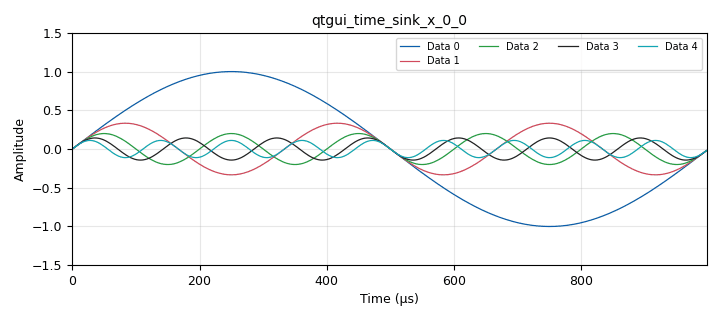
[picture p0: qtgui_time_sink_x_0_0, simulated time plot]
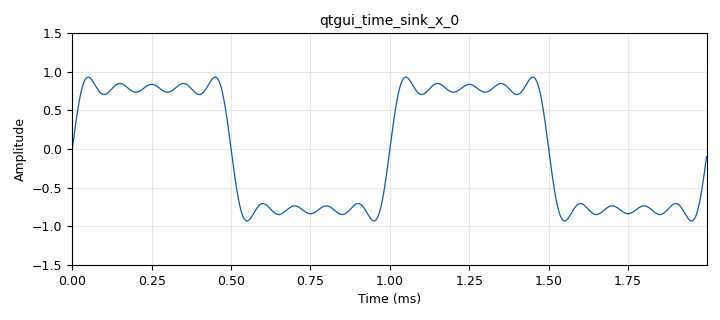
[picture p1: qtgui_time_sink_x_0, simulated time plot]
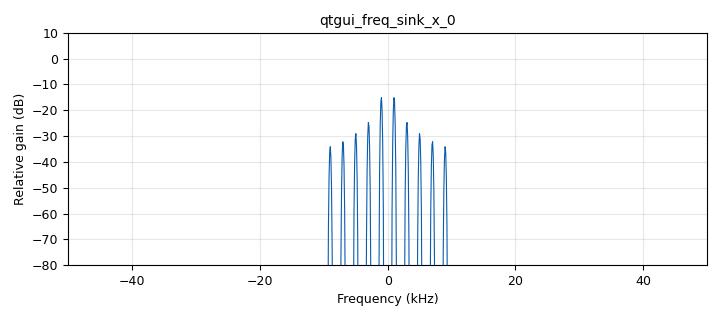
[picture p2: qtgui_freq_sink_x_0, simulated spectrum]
<?xml version='1.0' encoding='utf-8'?>
<flow_graph>
<block>
<key>options</key>
<param><key>id</key><value>top_block</value></param>
<param><key>generate_options</key><value>qt_gui</value></param>
<param><key>category</key><value>Custom</value></param>
</block>
<block>
<key>variable</key>
<param><key>id</key><value>samp_rate</value></param>
<param><key>value</key><value>315e3</value></param>
</block>
<block>
<key>variable_qtgui_range</key>
<param><key>id</key><value>third_harm</value></param>
<param><key>label</key><value>7 kHz</value></param>
<param><key>value</key><value>1.0/7</value></param>
<param><key>start</key><value>0</value></param>
<param><key>stop</key><value>1.0/7</value></param>
<param><key>step</key><value>0.01</value></param>
<param><key>orient</key><value>Qt.Horizontal</value></param>
<param><key>gui_hint</key><value>0,3,1,1</value></param>
</block>
<block>
<key>variable_qtgui_range</key>
<param><key>id</key><value>sec_harm</value></param>
<param><key>label</key><value>5 kHz</value></param>
<param><key>value</key><value>1.0/5</value></param>
<param><key>start</key><value>0</value></param>
<param><key>stop</key><value>1.0/5</value></param>
<param><key>step</key><value>0.01</value></param>
<param><key>orient</key><value>Qt.Horizontal</value></param>
<param><key>gui_hint</key><value>0,2,1,1</value></param>
</block>
<block>
<key>variable_qtgui_range</key>
<param><key>id</key><value>first_harm</value></param>
<param><key>label</key><value>3 kHz</value></param>
<param><key>value</key><value>1.0/3</value></param>
<param><key>start</key><value>0</value></param>
<param><key>stop</key><value>1.0/3</value></param>
<param><key>step</key><value>0.01</value></param>
<param><key>orient</key><value>Qt.Horizontal</value></param>
<param><key>gui_hint</key><value>0,1,1,1</value></param>
</block>
<block>
<key>variable_qtgui_range</key>
<param><key>id</key><value>fundamental</value></param>
<param><key>label</key><value>1 kHz</value></param>
<param><key>value</key><value>1</value></param>
<param><key>start</key><value>0</value></param>
<param><key>stop</key><value>1</value></param>
<param><key>step</key><value>0.01</value></param>
<param><key>orient</key><value>Qt.Horizontal</value></param>
<param><key>gui_hint</key><value>0,0,1,1</value></param>
</block>
<block>
<key>variable_qtgui_range</key>
<param><key>id</key><value>fourth_harm</value></param>
<param><key>label</key><value>9 kHz</value></param>
<param><key>value</key><value>1.0/9</value></param>
<param><key>start</key><value>0</value></param>
<param><key>stop</key><value>1.0/9</value></param>
<param><key>step</key><value>0.01</value></param>
<param><key>orient</key><value>Qt.Horizontal</value></param>
<param><key>gui_hint</key><value>0,4,1,1</value></param>
</block>
<block>
<key>analog_sig_source_x</key>
<param><key>id</key><value>analog_sig_source_x_0_0</value></param>
<param><key>type</key><value>float</value></param>
<param><key>samp_rate</key><value>samp_rate</value></param>
<param><key>waveform</key><value>analog.GR_SIN_WAVE</value></param>
<param><key>freq</key><value>3000</value></param>
<param><key>amp</key><value>first_harm</value></param>
<param><key>offset</key><value>0</value></param>
</block>
<block>
<key>analog_sig_source_x</key>
<param><key>id</key><value>analog_sig_source_x_0_0_0</value></param>
<param><key>type</key><value>float</value></param>
<param><key>samp_rate</key><value>samp_rate</value></param>
<param><key>waveform</key><value>analog.GR_SIN_WAVE</value></param>
<param><key>freq</key><value>5000</value></param>
<param><key>amp</key><value>sec_harm</value></param>
<param><key>offset</key><value>0</value></param>
</block>
<block>
<key>analog_sig_source_x</key>
<param><key>id</key><value>analog_sig_source_x_0_0_0_0</value></param>
<param><key>type</key><value>float</value></param>
<param><key>samp_rate</key><value>samp_rate</value></param>
<param><key>waveform</key><value>analog.GR_SIN_WAVE</value></param>
<param><key>freq</key><value>7000</value></param>
<param><key>amp</key><value>third_harm</value></param>
<param><key>offset</key><value>0</value></param>
</block>
<block>
<key>analog_sig_source_x</key>
<param><key>id</key><value>analog_sig_source_x_0_0_0_0_0</value></param>
<param><key>type</key><value>float</value></param>
<param><key>samp_rate</key><value>samp_rate</value></param>
<param><key>waveform</key><value>analog.GR_SIN_WAVE</value></param>
<param><key>freq</key><value>9000</value></param>
<param><key>amp</key><value>fourth_harm</value></param>
<param><key>offset</key><value>0</value></param>
</block>
<block>
<key>analog_sig_source_x</key>
<param><key>id</key><value>analog_sig_source_x_0</value></param>
<param><key>type</key><value>float</value></param>
<param><key>samp_rate</key><value>samp_rate</value></param>
<param><key>waveform</key><value>analog.GR_SIN_WAVE</value></param>
<param><key>freq</key><value>1000</value></param>
<param><key>amp</key><value>fundamental</value></param>
<param><key>offset</key><value>0</value></param>
</block>
<block>
<key>qtgui_time_sink_x</key>
<param><key>id</key><value>qtgui_time_sink_x_0_0</value></param>
<param><key>type</key><value>float</value></param>
<param><key>size</key><value>315</value></param>
<param><key>srate</key><value>samp_rate</value></param>
<param><key>ymin</key><value>-1.5</value></param>
<param><key>ymax</key><value>1.5</value></param>
<param><key>nconnections</key><value>5</value></param>
<param><key>gui_hint</key><value>1,3,1,2</value></param>
<param><key>tr_mode</key><value>qtgui.TRIG_MODE_NORM</value></param>
<param><key>tr_level</key><value>0</value></param>
<param><key>label1</key><value></value></param>
<param><key>color1</key><value>"blue"</value></param>
<param><key>label2</key><value></value></param>
<param><key>color2</key><value>"red"</value></param>
<param><key>label3</key><value></value></param>
<param><key>color3</key><value>"green"</value></param>
<param><key>label4</key><value></value></param>
<param><key>color4</key><value>"black"</value></param>
<param><key>label5</key><value></value></param>
<param><key>color5</key><value>"cyan"</value></param>
</block>
<block>
<key>blocks_add_xx</key>
<param><key>id</key><value>blocks_add_xx_0</value></param>
<param><key>type</key><value>float</value></param>
<param><key>num_inputs</key><value>5</value></param>
</block>
<block>
<key>qtgui_time_sink_x</key>
<param><key>id</key><value>qtgui_time_sink_x_0</value></param>
<param><key>type</key><value>float</value></param>
<param><key>size</key><value>315*2</value></param>
<param><key>srate</key><value>samp_rate</value></param>
<param><key>ymin</key><value>-1.5</value></param>
<param><key>ymax</key><value>1.5</value></param>
<param><key>gui_hint</key><value>1,0,1,3</value></param>
<param><key>tr_mode</key><value>qtgui.TRIG_MODE_NORM</value></param>
<param><key>tr_level</key><value>0</value></param>
<param><key>label1</key><value></value></param>
<param><key>color1</key><value>"blue"</value></param>
</block>
<block>
<key>blocks_throttle</key>
<param><key>id</key><value>blocks_throttle_0</value></param>
<param><key>type</key><value>float</value></param>
<param><key>samples_per_second</key><value>samp_rate</value></param>
</block>
<block>
<key>rational_resampler_xxx</key>
<param><key>id</key><value>rational_resampler_xxx_0</value></param>
<param><key>type</key><value>fff</value></param>
<param><key>interp</key><value>100</value></param>
<param><key>decim</key><value>315</value></param>
<param><key>taps</key><value></value></param>
</block>
<block>
<key>qtgui_freq_sink_x</key>
<param><key>id</key><value>qtgui_freq_sink_x_0</value></param>
<param><key>type</key><value>float</value></param>
<param><key>fftsize</key><value>1024</value></param>
<param><key>wintype</key><value>firdes.WIN_BLACKMAN_hARRIS</value></param>
<param><key>fc</key><value>0</value></param>
<param><key>bw</key><value>100e3</value></param>
<param><key>ymin</key><value>-80</value></param>
</block>
<connection><source_block_id>blocks_add_xx_0</source_block_id><sink_block_id>rational_resampler_xxx_0</sink_block_id><source_key>0</source_key><sink_key>0</sink_key></connection>
<connection><source_block_id>blocks_add_xx_0</source_block_id><sink_block_id>qtgui_time_sink_x_0</sink_block_id><source_key>0</source_key><sink_key>0</sink_key></connection>
<connection><source_block_id>analog_sig_source_x_0_0_0_0_0</source_block_id><sink_block_id>blocks_add_xx_0</sink_block_id><source_key>0</source_key><sink_key>4</sink_key></connection>
<connection><source_block_id>analog_sig_source_x_0_0_0_0</source_block_id><sink_block_id>blocks_add_xx_0</sink_block_id><source_key>0</source_key><sink_key>3</sink_key></connection>
<connection><source_block_id>analog_sig_source_x_0_0_0</source_block_id><sink_block_id>blocks_add_xx_0</sink_block_id><source_key>0</source_key><sink_key>2</sink_key></connection>
<connection><source_block_id>analog_sig_source_x_0_0</source_block_id><sink_block_id>blocks_add_xx_0</sink_block_id><source_key>0</source_key><sink_key>1</sink_key></connection>
<connection><source_block_id>analog_sig_source_x_0_0</source_block_id><sink_block_id>qtgui_time_sink_x_0_0</sink_block_id><source_key>0</source_key><sink_key>1</sink_key></connection>
<connection><source_block_id>analog_sig_source_x_0_0_0</source_block_id><sink_block_id>qtgui_time_sink_x_0_0</sink_block_id><source_key>0</source_key><sink_key>2</sink_key></connection>
<connection><source_block_id>analog_sig_source_x_0_0_0_0</source_block_id><sink_block_id>qtgui_time_sink_x_0_0</sink_block_id><source_key>0</source_key><sink_key>3</sink_key></connection>
<connection><source_block_id>analog_sig_source_x_0_0_0_0_0</source_block_id><sink_block_id>qtgui_time_sink_x_0_0</sink_block_id><source_key>0</source_key><sink_key>4</sink_key></connection>
<connection><source_block_id>analog_sig_source_x_0</source_block_id><sink_block_id>blocks_throttle_0</sink_block_id><source_key>0</source_key><sink_key>0</sink_key></connection>
<connection><source_block_id>blocks_throttle_0</source_block_id><sink_block_id>qtgui_time_sink_x_0_0</sink_block_id><source_key>0</source_key><sink_key>0</sink_key></connection>
<connection><source_block_id>blocks_throttle_0</source_block_id><sink_block_id>blocks_add_xx_0</sink_block_id><source_key>0</source_key><sink_key>0</sink_key></connection>
<connection><source_block_id>rational_resampler_xxx_0</source_block_id><sink_block_id>qtgui_freq_sink_x_0</sink_block_id><source_key>0</source_key><sink_key>0</sink_key></connection>
</flow_graph>
